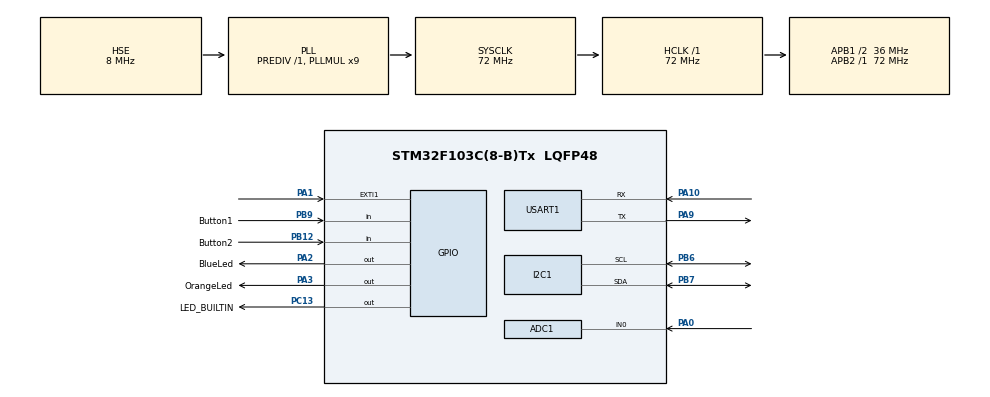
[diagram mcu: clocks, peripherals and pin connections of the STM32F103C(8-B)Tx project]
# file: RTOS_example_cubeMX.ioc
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ADC1.Channel-2\#ChannelRegularConversion=ADC_CHANNEL_0
ADC1.ContinuousConvMode=DISABLE
ADC1.DiscontinuousConvMode=DISABLE
ADC1.EnableRegularConversion=ENABLE
ADC1.NbrOfConversion=1
ADC1.NbrOfConversionFlag=1
ADC1.Rank-2\#ChannelRegularConversion=1
ADC1.SamplingTime-2\#ChannelRegularConversion=ADC_SAMPLETIME_28CYCLES_5
ADC1.master=1
FREERTOS.Tasks01=defaultTask,24,128,StartDefaultTask,Default,NULL,Dynamic,NULL,NULL;pickButtonTask,24,128,pickButton,Default,NULL,Dynamic,NULL,NULL;getADCTask,32,128,getADC,Default,NULL,Dynamic,NULL,NULL;dispOLEDTask,24,128,dispOLED,Default,NULL,Dynamic,NULL,NULL;dispUARTTask,24,128,dispUART,Default,NULL,Dynamic,NULL,NULL
FREERTOS.configTOTAL_HEAP_SIZE=5000
I2C1.I2C_Mode=I2C_Fast
Mcu.Family=STM32F1
Mcu.Name=STM32F103C(8-B)Tx
Mcu.Package=LQFP48
NVIC.PriorityGroup=NVIC_PRIORITYGROUP_4
NVIC.TIM4_IRQn=true\:0\:0\:false\:false\:true\:false\:false\:true\:true
NVIC.TimeBase=TIM4_IRQn
NVIC.TimeBaseIP=TIM4
PA0-WKUP.Signal=ADCx_IN0
PA1.Signal=GPXTI1
PA10.Mode=Asynchronous
PA10.Signal=USART1_RX
PA13.Mode=Serial_Wire
PA13.Signal=SYS_JTMS-SWDIO
PA14.Mode=Serial_Wire
PA14.Signal=SYS_JTCK-SWCLK
PA2.GPIO_Label=BlueLed
PA2.Signal=GPIO_Output
PA3.GPIO_Label=OrangeLed
PA3.Signal=GPIO_Output
PA9.Mode=Asynchronous
PA9.Signal=USART1_TX
PB12.GPIO_Label=Button2
PB12.Signal=GPIO_Input
PB6.Mode=I2C
PB6.Signal=I2C1_SCL
PB7.Mode=I2C
PB7.Signal=I2C1_SDA
PB9.GPIO_Label=Button1
PB9.Signal=GPIO_Input
PC13-TAMPER-RTC.GPIO_Label=LED_BUILTIN
PC13-TAMPER-RTC.Signal=GPIO_Output
PD0-OSC_IN.Mode=HSE-External-Oscillator
PD0-OSC_IN.Signal=RCC_OSC_IN
PD1-OSC_OUT.Mode=HSE-External-Oscillator
PD1-OSC_OUT.Signal=RCC_OSC_OUT
ProjectManager.HeapSize=0x200
ProjectManager.StackSize=0x400
ProjectManager.TargetToolchain=STM32CubeIDE
RCC.ADCPresc=RCC_ADCPCLK2_DIV6
RCC.AHBFreq_Value=72000000
RCC.APB1CLKDivider=RCC_HCLK_DIV2
RCC.APB1Freq_Value=36000000
RCC.APB1TimFreq_Value=72000000
RCC.APB2Freq_Value=72000000
RCC.APB2TimFreq_Value=72000000
RCC.HCLKFreq_Value=72000000
RCC.PLLMUL=RCC_PLL_MUL9
RCC.PLLSourceVirtual=RCC_PLLSOURCE_HSE
RCC.SYSCLKFreq_VALUE=72000000
RCC.SYSCLKSource=RCC_SYSCLKSOURCE_PLLCLK
RCC.USBFreq_Value=72000000
SH.ADCx_IN0.0=ADC1_IN0,IN0
USART1.VirtualMode=VM_ASYNC
VP_FREERTOS_VS_CMSIS_V2.Mode=CMSIS_V2
VP_SYS_VS_tim4.Mode=TIM4
board=custom

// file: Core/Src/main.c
/* USER CODE BEGIN Header */
/**
  ******************************************************************************
 * main.c
 * author:  Jonathan Burkley Rodriguez <superryuboy@yahoo.com>
	for Phipp's Electronics

	SSD1306 code:
 * original author:  Tilen Majerle<tilen@majerle.eu>
 * modification for STM32f10x: Alexander Lutsai<s.lyra@ya.ru>

   ----------------------------------------------------------------------
   	Copyright (C) Alexander Lutsai, 2016
    Copyright (C) Tilen Majerle, 2015

   ----------------------------------------------------------------------

    This program is free software: you can redistribute it and/or modify
    it under the terms of the GNU General Public License as published by
    the Free Software Foundation, either version 3 of the License, or
    any later version.

    This program is distributed in the hope that it will be useful,
    but WITHOUT ANY WARRANTY; without even the implied warranty of
    MERCHANTABILITY or FITNESS FOR A PARTICULAR PURPOSE.  See the
    GNU General Public License for more details.

    You should have received a copy of the GNU General Public License
    along with this program.  If not, see <http://www.gnu.org/licenses/>.
  ******************************************************************************
  */
/* USER CODE END Header */
#include "main.h"
#include "cmsis_os.h"

/* USER CODE BEGIN Includes */
#include <stdio.h>
#include "fonts.h"
#include "ssd1306.h"
//#include "test.h"
#include "bitmap.h"
//#include "horse_anim.h"
/* USER CODE END Includes */

ADC_HandleTypeDef hadc1;

I2C_HandleTypeDef hi2c1;

UART_HandleTypeDef huart1;

/* Definitions for defaultTask */
osThreadId_t defaultTaskHandle;
const osThreadAttr_t defaultTask_attributes = {
  .name = "defaultTask",
  .priority = (osPriority_t) osPriorityNormal,
  .stack_size = 128 * 4
};
/* Definitions for pickButtonTask */
osThreadId_t pickButtonTaskHandle;
const osThreadAttr_t pickButtonTask_attributes = {
  .name = "pickButtonTask",
  .priority = (osPriority_t) osPriorityNormal,
  .stack_size = 128 * 4
};
/* Definitions for getADCTask */
osThreadId_t getADCTaskHandle;
const osThreadAttr_t getADCTask_attributes = {
  .name = "getADCTask",
  .priority = (osPriority_t) osPriorityAboveNormal,
  .stack_size = 128 * 4
};
/* Definitions for dispOLEDTask */
osThreadId_t dispOLEDTaskHandle;
const osThreadAttr_t dispOLEDTask_attributes = {
  .name = "dispOLEDTask",
  .priority = (osPriority_t) osPriorityNormal,
  .stack_size = 128 * 4
};
/* Definitions for dispUARTTask */
osThreadId_t dispUARTTaskHandle;
const osThreadAttr_t dispUARTTask_attributes = {
  .name = "dispUARTTask",
  .priority = (osPriority_t) osPriorityNormal,
  .stack_size = 128 * 4
};
/* USER CODE BEGIN PV */
uint32_t x_val;
uint8_t choice;
char buffer[50];

volatile int button1_pressed = 0;
volatile int button2_pressed = 0;

/* USER CODE END PV */

void SystemClock_Config(void);
static void MX_GPIO_Init(void);
static void MX_ADC1_Init(void);
static void MX_I2C1_Init(void);
static void MX_USART1_UART_Init(void);
void StartDefaultTask(void *argument);
void pickButton(void *argument);
void getADC(void *argument);
void dispOLED(void *argument);
void dispUART(void *argument);

/* USER CODE BEGIN PFP */
void Menu_Display(void);
/* USER CODE END PFP */

int main(void)
{

  /* MCU Configuration--------------------------------------------------------*/

  /* Reset of all peripherals, Initializes the Flash interface and the Systick. */
  HAL_Init();

  /* USER CODE BEGIN Init */

	  // initialise
  /* USER CODE END Init */

  /* Configure the system clock */
  SystemClock_Config();

  /* Initialize all configured peripherals */
  MX_GPIO_Init();
  MX_ADC1_Init();
  MX_I2C1_Init();
  MX_USART1_UART_Init();
  /* USER CODE BEGIN 2 */

  SSD1306_Init();
  SSD1306_Clear();
  SSD1306_UpdateScreen();

  SSD1306_GotoXY (0,0);
  SSD1306_Puts ("HELLO", &Font_11x18, 1);
  SSD1306_GotoXY (10, 30);
  SSD1306_Puts ("  WORLD :)", &Font_11x18, 1);
  SSD1306_UpdateScreen(); //display

  HAL_Delay(2000);

  /* USER CODE END 2 */

  /* Init scheduler */
  osKernelInitialize();

  /* Create the thread(s) */
  /* creation of defaultTask */
  defaultTaskHandle = osThreadNew(StartDefaultTask, NULL, &defaultTask_attributes);

  /* creation of pickButtonTask */
  pickButtonTaskHandle = osThreadNew(pickButton, NULL, &pickButtonTask_attributes);

  /* creation of getADCTask */
  getADCTaskHandle = osThreadNew(getADC, NULL, &getADCTask_attributes);

  /* creation of dispOLEDTask */
  dispOLEDTaskHandle = osThreadNew(dispOLED, NULL, &dispOLEDTask_attributes);

  /* creation of dispUARTTask */
  dispUARTTaskHandle = osThreadNew(dispUART, NULL, &dispUARTTask_attributes);

  /* Start scheduler */
  osKernelStart();

  /* We should never get here as control is now taken by the scheduler */
  /* Infinite loop */
  while (1)
  {

  }
}

void SystemClock_Config(void)
{
  RCC_OscInitTypeDef RCC_OscInitStruct = {0};
  RCC_ClkInitTypeDef RCC_ClkInitStruct = {0};
  RCC_PeriphCLKInitTypeDef PeriphClkInit = {0};

  /** Initializes the RCC Oscillators according to the specified parameters
  * in the RCC_OscInitTypeDef structure.
  */
  RCC_OscInitStruct.OscillatorType = RCC_OSCILLATORTYPE_HSE;
  RCC_OscInitStruct.HSEState = RCC_HSE_ON;
  RCC_OscInitStruct.HSEPredivValue = RCC_HSE_PREDIV_DIV1;
  RCC_OscInitStruct.HSIState = RCC_HSI_ON;
  RCC_OscInitStruct.PLL.PLLState = RCC_PLL_ON;
  RCC_OscInitStruct.PLL.PLLSource = RCC_PLLSOURCE_HSE;
  RCC_OscInitStruct.PLL.PLLMUL = RCC_PLL_MUL9;
  if (HAL_RCC_OscConfig(&RCC_OscInitStruct) != HAL_OK)
  {
    Error_Handler();
  }
  /** Initializes the CPU, AHB and APB buses clocks
  */
  RCC_ClkInitStruct.ClockType = RCC_CLOCKTYPE_HCLK|RCC_CLOCKTYPE_SYSCLK
                              |RCC_CLOCKTYPE_PCLK1|RCC_CLOCKTYPE_PCLK2;
  RCC_ClkInitStruct.SYSCLKSource = RCC_SYSCLKSOURCE_PLLCLK;
  RCC_ClkInitStruct.AHBCLKDivider = RCC_SYSCLK_DIV1;
  RCC_ClkInitStruct.APB1CLKDivider = RCC_HCLK_DIV2;
  RCC_ClkInitStruct.APB2CLKDivider = RCC_HCLK_DIV1;

  if (HAL_RCC_ClockConfig(&RCC_ClkInitStruct, FLASH_LATENCY_2) != HAL_OK)
  {
    Error_Handler();
  }
  PeriphClkInit.PeriphClockSelection = RCC_PERIPHCLK_ADC;
  PeriphClkInit.AdcClockSelection = RCC_ADCPCLK2_DIV6;
  if (HAL_RCCEx_PeriphCLKConfig(&PeriphClkInit) != HAL_OK)
  {
    Error_Handler();
  }
}

static void MX_ADC1_Init(void)
{

  ADC_ChannelConfTypeDef sConfig = {0};

  /** Common config
  */
  hadc1.Instance = ADC1;
  hadc1.Init.ScanConvMode = ADC_SCAN_DISABLE;
  hadc1.Init.ContinuousConvMode = DISABLE;
  hadc1.Init.DiscontinuousConvMode = DISABLE;
  hadc1.Init.ExternalTrigConv = ADC_SOFTWARE_START;
  hadc1.Init.DataAlign = ADC_DATAALIGN_RIGHT;
  hadc1.Init.NbrOfConversion = 1;
  if (HAL_ADC_Init(&hadc1) != HAL_OK)
  {
    Error_Handler();
  }
  /** Configure Regular Channel
  */
  sConfig.Channel = ADC_CHANNEL_0;
  sConfig.Rank = ADC_REGULAR_RANK_1;
  sConfig.SamplingTime = ADC_SAMPLETIME_28CYCLES_5;
  if (HAL_ADC_ConfigChannel(&hadc1, &sConfig) != HAL_OK)
  {
    Error_Handler();
  }

}

static void MX_I2C1_Init(void)
{

  hi2c1.Instance = I2C1;
  hi2c1.Init.ClockSpeed = 400000;
  hi2c1.Init.DutyCycle = I2C_DUTYCYCLE_2;
  hi2c1.Init.OwnAddress1 = 0;
  hi2c1.Init.AddressingMode = I2C_ADDRESSINGMODE_7BIT;
  hi2c1.Init.DualAddressMode = I2C_DUALADDRESS_DISABLE;
  hi2c1.Init.OwnAddress2 = 0;
  hi2c1.Init.GeneralCallMode = I2C_GENERALCALL_DISABLE;
  hi2c1.Init.NoStretchMode = I2C_NOSTRETCH_DISABLE;
  if (HAL_I2C_Init(&hi2c1) != HAL_OK)
  {
    Error_Handler();
  }

}

static void MX_USART1_UART_Init(void)
{

  huart1.Instance = USART1;
  huart1.Init.BaudRate = 115200;
  huart1.Init.WordLength = UART_WORDLENGTH_8B;
  huart1.Init.StopBits = UART_STOPBITS_1;
  huart1.Init.Parity = UART_PARITY_NONE;
  huart1.Init.Mode = UART_MODE_TX_RX;
  huart1.Init.HwFlowCtl = UART_HWCONTROL_NONE;
  huart1.Init.OverSampling = UART_OVERSAMPLING_16;
  if (HAL_UART_Init(&huart1) != HAL_OK)
  {
    Error_Handler();
  }

}

static void MX_GPIO_Init(void)
{
  GPIO_InitTypeDef GPIO_InitStruct = {0};

  /* GPIO Ports Clock Enable */
  __HAL_RCC_GPIOC_CLK_ENABLE();
  __HAL_RCC_GPIOD_CLK_ENABLE();
  __HAL_RCC_GPIOA_CLK_ENABLE();
  __HAL_RCC_GPIOB_CLK_ENABLE();

  /*Configure GPIO pin Output Level */
  HAL_GPIO_WritePin(LED_BUILTIN_GPIO_Port, LED_BUILTIN_Pin, GPIO_PIN_RESET);

  /*Configure GPIO pin Output Level */
  HAL_GPIO_WritePin(GPIOA, BlueLed_Pin|OrangeLed_Pin, GPIO_PIN_RESET);

  /*Configure GPIO pin : LED_BUILTIN_Pin */
  GPIO_InitStruct.Pin = LED_BUILTIN_Pin;
  GPIO_InitStruct.Mode = GPIO_MODE_OUTPUT_PP;
  GPIO_InitStruct.Pull = GPIO_NOPULL;
  GPIO_InitStruct.Speed = GPIO_SPEED_FREQ_LOW;
  HAL_GPIO_Init(LED_BUILTIN_GPIO_Port, &GPIO_InitStruct);

  /*Configure GPIO pin : PA1 */
  GPIO_InitStruct.Pin = GPIO_PIN_1;
  GPIO_InitStruct.Mode = GPIO_MODE_IT_RISING;
  GPIO_InitStruct.Pull = GPIO_NOPULL;
  HAL_GPIO_Init(GPIOA, &GPIO_InitStruct);

  /*Configure GPIO pins : BlueLed_Pin OrangeLed_Pin */
  GPIO_InitStruct.Pin = BlueLed_Pin|OrangeLed_Pin;
  GPIO_InitStruct.Mode = GPIO_MODE_OUTPUT_PP;
  GPIO_InitStruct.Pull = GPIO_NOPULL;
  GPIO_InitStruct.Speed = GPIO_SPEED_FREQ_LOW;
  HAL_GPIO_Init(GPIOA, &GPIO_InitStruct);

  /*Configure GPIO pins : Button2_Pin Button1_Pin */
  GPIO_InitStruct.Pin = Button2_Pin|Button1_Pin;
  GPIO_InitStruct.Mode = GPIO_MODE_INPUT;
  GPIO_InitStruct.Pull = GPIO_NOPULL;
  HAL_GPIO_Init(GPIOB, &GPIO_InitStruct);

}

/* USER CODE BEGIN 4 */

void Menu_Display(void)
{
	uint8_t menu_1[] = "\r\n1. Voltage monitor read\r\n";
	uint8_t menu_2[] = "2. Re-display Menu\r\n\r\n";

	HAL_UART_Transmit(&huart1, menu_1, sizeof(menu_1), 10);
	HAL_UART_Transmit(&huart1, menu_2, sizeof(menu_2), 10);

}

/* USER CODE END 4 */

void StartDefaultTask(void *argument)
{
  for(;;)
  {
    osDelay(1);
  }
}

void pickButton(void *argument)
{
  /* USER CODE BEGIN pickButton */
  /* Infinite loop */
  for(;;)
  {

	  if(HAL_GPIO_ReadPin(Button1_GPIO_Port, Button1_Pin) == GPIO_PIN_RESET)
	  {
		  osDelay(300);	// debounce
		  button1_pressed = 1;
	  }

	  if(HAL_GPIO_ReadPin(Button2_GPIO_Port, Button2_Pin) == GPIO_PIN_RESET)
	  {
		  osDelay(300);	// debounce
		  button2_pressed = 1;
	  }

    osDelay(100);
  }
  /* USER CODE END pickButton */
}

void getADC(void *argument)
{
  /* USER CODE BEGIN getADC */
  /* Infinite loop */
  for(;;)
  {

	  HAL_ADC_Start(&hadc1);
	  HAL_ADC_PollForConversion(&hadc1, 10);
	  x_val = (HAL_ADC_GetValue(&hadc1));
	  HAL_ADC_Stop(&hadc1);

	  // process ADC values here

    osDelay(100);
  }
  /* USER CODE END getADC */
}

void dispOLED(void *argument)
{
  /* USER CODE BEGIN dispOLED */
	  SSD1306_Clear();
	  SSD1306_UpdateScreen();
  /* Infinite loop */
  for(;;)
  {

	  SSD1306_GotoXY (0,0);
	  sprintf(buffer, "ADC=%d      ", x_val);
	  SSD1306_Puts (buffer, &Font_11x18, 1);
	  SSD1306_UpdateScreen(); //display
	  //osDelay(100);
  }
  /* USER CODE END dispOLED */
}

void dispUART(void *argument)
{
	  /* USER CODE BEGIN UARTmenu */
	  /* Infinite loop */

		Menu_Display();

	  for(;;)
	  {
		  // select user input
		  if (HAL_UART_Receive(&huart1, &choice, sizeof(choice), 10) == HAL_OK)
		  {
			switch (choice) {

				case '1':
					//HAL_UART_Transmit(&huart1, (uint8_t*)"2 pressed\r\n", sizeof("1 pressed\r\n"), 10);
					sprintf(buffer, "Voltage = %d\r\n",x_val);
					HAL_UART_Transmit(&huart1, buffer, sizeof(buffer), 10);
					break;
				case '2':
					Menu_Display();
					break;
				default:
					break;
			}
		  }else{

		  }

		  if(button1_pressed)
		  {
			  HAL_UART_Transmit(&huart1, (uint8_t*)"Button1 pressed\r\n", sizeof("Button1 pressed\r\n"), 10);
			  button1_pressed = 0;
		  }

		  if(button2_pressed)
		  {
			  HAL_UART_Transmit(&huart1, (uint8_t*)"Button2 pressed\r\n", sizeof("Button2 pressed\r\n"), 10);
			  button2_pressed = 0;
		  }

	    osDelay(100);
	  }
	  /* USER CODE END UARTmenu */
}

 /**
  * @brief  Period elapsed callback in non blocking mode
  * @note   This function is called  when TIM4 interrupt took place, inside
  * HAL_TIM_IRQHandler(). It makes a direct call to HAL_IncTick() to increment
  * a global variable "uwTick" used as application time base.
  * @param  htim : TIM handle
  * @retval None
  */
void HAL_TIM_PeriodElapsedCallback(TIM_HandleTypeDef *htim)
{
  if (htim->Instance == TIM4) {
    HAL_IncTick();
  }
}

void Error_Handler(void)
{
  __disable_irq();
  while (1)
  {
  }
}

/************************ (C) COPYRIGHT STMicroelectronics *****END OF FILE****/
